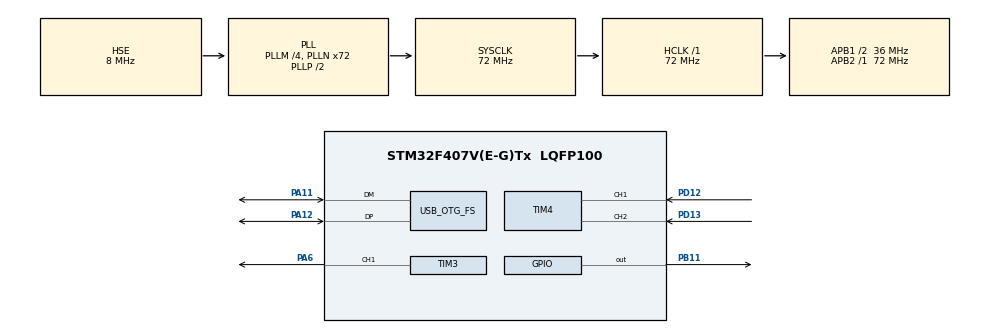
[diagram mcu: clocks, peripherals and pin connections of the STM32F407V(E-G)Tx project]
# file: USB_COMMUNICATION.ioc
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Mcu.Family=STM32F4
Mcu.Name=STM32F407V(E-G)Tx
Mcu.Package=LQFP100
NVIC.OTG_FS_IRQn=true\:0\:0\:false\:false\:true\:false\:true\:true
NVIC.PriorityGroup=NVIC_PRIORITYGROUP_4
NVIC.TIM2_IRQn=true\:0\:0\:false\:false\:true\:true\:true\:true
PA11.Mode=Device_Only
PA11.Signal=USB_OTG_FS_DM
PA12.Mode=Device_Only
PA12.Signal=USB_OTG_FS_DP
PA13.Mode=Serial_Wire
PA13.Signal=SYS_JTMS-SWDIO
PA14.Mode=Serial_Wire
PA14.Signal=SYS_JTCK-SWCLK
PA6.Signal=S_TIM3_CH1
PB11.Signal=GPIO_Output
PD12.Signal=S_TIM4_CH1
PD13.Signal=S_TIM4_CH2
PH0-OSC_IN.Mode=HSE-External-Oscillator
PH0-OSC_IN.Signal=RCC_OSC_IN
PH1-OSC_OUT.Mode=HSE-External-Oscillator
PH1-OSC_OUT.Signal=RCC_OSC_OUT
ProjectManager.HeapSize=0X800
ProjectManager.StackSize=0x400
ProjectManager.TargetToolchain=MDK-ARM V5.32
RCC.48MHZClocksFreq_Value=48000000
RCC.AHBFreq_Value=72000000
RCC.APB1CLKDivider=RCC_HCLK_DIV2
RCC.APB1Freq_Value=36000000
RCC.APB1TimFreq_Value=72000000
RCC.APB2Freq_Value=72000000
RCC.APB2TimFreq_Value=72000000
RCC.CortexFreq_Value=72000000
RCC.HCLKFreq_Value=72000000
RCC.HSE_VALUE=8000000
RCC.HSI_VALUE=16000000
RCC.LSE_VALUE=32768
RCC.PLLM=4
RCC.PLLN=72
RCC.PLLQ=3
RCC.SYSCLKFreq_VALUE=72000000
RCC.SYSCLKSource=RCC_SYSCLKSOURCE_PLLCLK
RCC.VCOOutputFreq_Value=144000000
SH.S_TIM3_CH1.0=TIM3_CH1,PWM Generation1 CH1
SH.S_TIM4_CH1.0=TIM4_CH1,Encoder_Interface
SH.S_TIM4_CH2.0=TIM4_CH2,Encoder_Interface
TIM2.Period=3599
TIM2.Prescaler=99
TIM3.Channel-PWM\ Generation1\ CH1=TIM_CHANNEL_1
TIM3.CounterMode=TIM_COUNTERMODE_CENTERALIGNED3
TIM3.Period=7199
TIM3.Prescaler=9
TIM4.EncoderMode=TIM_ENCODERMODE_TI12
USB_DEVICE.APP_RX_DATA_SIZE-CDC_FS=18
USB_DEVICE.APP_TX_DATA_SIZE-CDC_FS=18
USB_DEVICE.CLASS_NAME_FS=CDC
USB_DEVICE.VirtualMode-CDC_FS=Cdc
USB_DEVICE.VirtualModeFS=Cdc_FS
USB_OTG_FS.VirtualMode=Device_Only
VP_TIM2_VS_ClockSourceINT.Mode=Internal
VP_USB_DEVICE_VS_USB_DEVICE_CDC_FS.Mode=CDC_FS
board=custom

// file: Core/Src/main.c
/* USER CODE BEGIN Header */
/**
  ******************************************************************************
  * @file           : main.c
  * @brief          : Main program body
  ******************************************************************************
  * @attention
  *
  * Copyright (c) 2022 STMicroelectronics.
  * All rights reserved.
  *
  * This software is licensed under terms that can be found in the LICENSE file
  * in the root directory of this software component.
  * If no LICENSE file comes with this software, it is provided AS-IS.
  *
  ******************************************************************************
  */
/* USER CODE END Header */
#include "main.h"
#include "tim.h"
#include "usb_device.h"
#include "gpio.h"

/* USER CODE BEGIN Includes */
#include <stdbool.h>
#include <stdint.h>
#include <string.h>
#include <math.h>
#include <stdio.h>
#include <stdlib.h>

#include <pid.h>
#include <motor.h>
#include <serial.h>
/* USER CODE END Includes */

void SystemClock_Config(void);

/* USER CODE BEGIN 0 */
extern PID_CONTROL_t tPIDControl;
extern PROFILE_t  tProfile;
extern PROCESS_t tProcess;

extern bool g_bDataAvailable;
extern uint8_t nTxBuff[MAX_LEN];
extern uint8_t g_strCommand[4];
extern uint8_t g_nOption[3];
extern uint8_t g_nData[8];

extern uint32_t g_nActPulse;
extern uint32_t g_nCmdPulse;
extern uint16_t g_nIndex;
extern float g_dPIDError;

uint8_t g_strTxCommand[4];
uint8_t g_nTxOption[3];
uint8_t g_nTxData[8];
uint16_t g_nTuningSampleCount =0;
/* USER CODE END 0 */

int main(void)
{

  /* MCU Configuration--------------------------------------------------------*/

  /* Reset of all peripherals, Initializes the Flash interface and the Systick. */
  HAL_Init();

  /* Configure the system clock */
  SystemClock_Config();

  /* Initialize all configured peripherals */
  MX_GPIO_Init();
  MX_TIM2_Init();
  MX_TIM3_Init();
  MX_TIM4_Init();
  MX_USB_DEVICE_Init();
  /* USER CODE BEGIN 2 */
  MotorInit();
  tProcess = NONE;

  /* USER CODE END 2 */

  /* Infinite loop */
  while (1)
  {

    /* USER CODE BEGIN 3 */
	  if(g_bDataAvailable == true)
	  	  	      {
	  	  	        if(StrCompare(g_strCommand, (uint8_t*)"SPID", 4))
	  	  	        {
	  	  	          tProcess = SPID;
	  	  	        }
	  	  	        else if(StrCompare(g_strCommand, (uint8_t*)"CTUN", 4))
	  	  	        {
	  	  	          tProcess = CTUN_RES;
	  	  	        }
	  	  	        else if(StrCompare(g_strCommand, (uint8_t*)"GPID", 4))
	  	  	        {
	  	  	          tProcess = GPID;
	  	  	        }
	  	  	        else if(StrCompare(g_strCommand, (uint8_t*)"CSET", 4))
	  	  	        {
	  	  	          tProcess = CSET;
	  	  	        }
	  	  	        else if(StrCompare(g_strCommand, (uint8_t*)"CRUN", 4))
	  	  	        {
	  	  	          tProcess = CRUN_RES;
	  	  	        }
	  	  	        else if(StrCompare(g_strCommand, (uint8_t*)"GRMS", 4))
	  	  	        {
	  	  	          tProcess = GRMS;
	  	  	        }
	  	  	        else
	  	  	        {
	  	  	          tProcess = NONE;
	  	  	        }
	  	  	        g_bDataAvailable = false;
	  	  	      }

	  	  	      switch(tProcess)
	  	  	      {
	  	  	        case NONE:
	  	  	          break;
	  	  	        case SPID:
	  	  	          SerialWriteComm(g_strCommand, g_nOption, g_nData);
	  	  	          g_nCmdPulse = 0;
	  	  	          PIDReset(&tPIDControl);
	  	  	          __HAL_TIM_SetCounter(&htim4, 32768);
	  	  	          g_nIndex = 0;

	  	  	          //get PID params
	  	  	          tPIDControl.dKp = (float)g_nData[0] + (float)g_nData[1]/10;
	  	  	          tPIDControl.dKi = (float)g_nData[2] + (float)g_nData[3]/100;
	  	  	          tPIDControl.dKd = ((float)g_nData[4] + (float)g_nData[5]/(pow((float)10,(float)g_nData[6])))/100;
					  memset(tPIDControl.nActPosSample, 0, sizeof(tPIDControl.nActPosSample));
	  	  	          tProcess = NONE;
	  	  	          break;
	  	  	        case CTUN_RES:
	  	  	          SerialWriteComm(g_strCommand, g_nOption, g_nData);
	  	  	          tProcess = CTUN;
	  	  	          break;
	  	  	        case CTUN:
	  	  	          break;
	  	  	        case GPID:
	  	  	          for(int index = 0; index < (g_nIndex -1); index ++)
	  	  	          {
	  	  	            sprintf((char*)g_strTxCommand, "%s", g_strCommand);
	  	  	            memset(g_nTxOption, '\0', 3);
	  	  	            g_nTxData[6] = (tPIDControl.nSampleTuningPID[index]&0xFF00) >>8;
	  	  	            g_nTxData[7] = (tPIDControl.nSampleTuningPID[index]&0xFF);
	  	  	            g_nTxData[2] = (index&0xFF00) >>8;
	  	  	            g_nTxData[3] = (index&0xFF);
	  	  	            g_nTxData[0] = 0;
	  	  	            g_nTxData[1] = 199;

	  	  	            SerialWriteComm(g_strTxCommand, g_nTxOption, g_nTxData);
	  	  	            memset(g_strTxCommand, '\0', 4);
	  	  	            memset(g_nTxOption, '\0', 3);
	  	  	            memset(g_nTxData, '\0', 8);

	  	  	            HAL_Delay(30);
	  	  	          }
	  	  	          g_bDataAvailable = false;
	  	  	          memset(g_strCommand, '\0', 4);
	  	  	          tProcess = NONE;
	  	  	          break;
	  	  	        case CSET:
	  	  	          SerialWriteComm(g_strCommand, g_nOption, g_nData);

	  	  	          PIDReset(&tPIDControl);
	  	  	          g_nActPulse = 0;
	  	  	          g_nCmdPulse = 0 ;

	  	  	          //Get Pmax, Vmax, Amax
	  	  	          tProfile.dAccelMax = (float)(g_nData[2])*256 + (float)(g_nData[3]);
	  	  	          tProfile.dVelMax = (float)(g_nData[4])*256 + (float)(g_nData[5]);
	  	  	          tProfile.dPosMax = (float)(g_nData[6])*256 + (float)(g_nData[7]);
	  	  	          //Calculate params for trapezoidal speed
	  	  	          tProfile.dA1 = 0.5f * tProfile.dAccelMax;
	  	  	          tProfile.dA2 = tProfile.dVelMax;
	  	  	          tProfile.dB2 = -0.5f * tProfile.dVelMax * tProfile.dVelMax / tProfile.dAccelMax;
	  	  	          tProfile.dA3 = -0.5f * tProfile.dAccelMax;
	  	  	          tProfile.dB3 = tProfile.dPosMax * tProfile.dAccelMax / tProfile.dVelMax + tProfile.dVelMax;
	  	  	          tProfile.dC3 = -0.5f * tProfile.dPosMax*tProfile.dPosMax*tProfile.dAccelMax/ (tProfile.dVelMax * tProfile.dVelMax) - 0.5f *tProfile.dVelMax * tProfile.dVelMax/tProfile.dAccelMax;

	  	  	          tProfile.dMidStep1 = tProfile.dVelMax / tProfile.dAccelMax;
	  	  	          tProfile.dMidStep2 = tProfile.dPosMax / tProfile.dVelMax;
	  	  	          tProfile.dMidStep3 = tProfile.dMidStep1 + tProfile.dMidStep2;

	  	  	          tProfile.nTime = 0;
	  	  	          tProcess = NONE;
	  	  	          //memset(g_strCommand, '\0', 4);
	  	  	          break;

	  	  	        case CRUN_RES:
	  	  	          SerialWriteComm(g_strCommand, g_nOption, g_nData);
	  	  	          g_nCmdPulse = 0;
	  	  	          PIDReset(&tPIDControl);
	  	  	          __HAL_TIM_SetCounter(&htim4, 32768);
	  	  	          g_nIndex = 0 ;
	  	  	          tProcess = CRUN;
	  	  	          //memset(g_strCommand, '\0', 4);
	  	  	          break;
	  	  	        case CRUN:
	  	  	          g_bDataAvailable = false;
	  	  	          //memset(g_strCommand, '\0', 4);
	  	  	          break;
	  	  	        case GRMS:
	  	  	          for(int index = 0 ; index < (g_nIndex - 1); index ++)
	  	  	          {
	  	  	            sprintf((char*)g_strTxCommand, "%s", g_strCommand);
	  	  	            memset(g_nTxOption, '\0', 3);
	  	  	            g_nTxData[6] = (tPIDControl.nActPosSample[index]&0xFF00) >>8;
	  	  	            g_nTxData[7] = (tPIDControl.nActPosSample[index]&0xFF);
	  	  	            g_nTxData[4] = ((uint16_t)g_dPIDError&0xFF00)>>8;
	  	  	            g_nTxData[5] = ((uint16_t)g_dPIDError&0xFF);
	  	  	            g_nTxData[2] = (index&0xFF00) >>8;
	  	  	            g_nTxData[3] = (index&0xFF);
	  	  	            g_nTxData[0] = ((g_nIndex -2)&0xFF00)>>8;
	  	  	            g_nTxData[1] = ((g_nIndex -2)&0xFF);

	  	  	            SerialWriteComm(g_strTxCommand, g_nTxOption, g_nTxData);
	  	  	            memset(g_strTxCommand, '\0', 4);
	  	  	            memset(g_nTxOption, '\0', 3);
	  	  	            memset(g_nTxData, '\0', 8);

	  	  	            HAL_Delay(30);
	  	  	          }
	  	  	          g_bDataAvailable = false;
	  	  	          tProcess = NONE;
	  	  	          break;
	  	  	      }

  }
  /* USER CODE END 3 */
}

void SystemClock_Config(void)
{
  RCC_OscInitTypeDef RCC_OscInitStruct = {0};
  RCC_ClkInitTypeDef RCC_ClkInitStruct = {0};

  /** Configure the main internal regulator output voltage
  */
  __HAL_RCC_PWR_CLK_ENABLE();
  __HAL_PWR_VOLTAGESCALING_CONFIG(PWR_REGULATOR_VOLTAGE_SCALE1);

  /** Initializes the RCC Oscillators according to the specified parameters
  * in the RCC_OscInitTypeDef structure.
  */
  RCC_OscInitStruct.OscillatorType = RCC_OSCILLATORTYPE_HSE;
  RCC_OscInitStruct.HSEState = RCC_HSE_ON;
  RCC_OscInitStruct.PLL.PLLState = RCC_PLL_ON;
  RCC_OscInitStruct.PLL.PLLSource = RCC_PLLSOURCE_HSE;
  RCC_OscInitStruct.PLL.PLLM = 4;
  RCC_OscInitStruct.PLL.PLLN = 72;
  RCC_OscInitStruct.PLL.PLLP = RCC_PLLP_DIV2;
  RCC_OscInitStruct.PLL.PLLQ = 3;
  if (HAL_RCC_OscConfig(&RCC_OscInitStruct) != HAL_OK)
  {
    Error_Handler();
  }

  /** Initializes the CPU, AHB and APB buses clocks
  */
  RCC_ClkInitStruct.ClockType = RCC_CLOCKTYPE_HCLK|RCC_CLOCKTYPE_SYSCLK
                              |RCC_CLOCKTYPE_PCLK1|RCC_CLOCKTYPE_PCLK2;
  RCC_ClkInitStruct.SYSCLKSource = RCC_SYSCLKSOURCE_PLLCLK;
  RCC_ClkInitStruct.AHBCLKDivider = RCC_SYSCLK_DIV1;
  RCC_ClkInitStruct.APB1CLKDivider = RCC_HCLK_DIV2;
  RCC_ClkInitStruct.APB2CLKDivider = RCC_HCLK_DIV1;

  if (HAL_RCC_ClockConfig(&RCC_ClkInitStruct, FLASH_LATENCY_2) != HAL_OK)
  {
    Error_Handler();
  }
}

/* USER CODE BEGIN 4 */
void HAL_TIM_PeriodElapsedCallback(TIM_HandleTypeDef *htim)
{
  if(htim->Instance == htim2.Instance)
  {
    switch(tProcess)
    {
      case NONE:
        break;
      case SPID:
        break;
      case CTUN_RES:
        break;
      case CTUN:
        if(g_nIndex <= 200)
        {
          MotorTuning(25);
        }
        else
        {
          tProcess = NONE;
        }
        break;
      case GPID:
        break;
      case CSET:
        break;
	  case CRUN_RES:
		break;
      case CRUN:
        MotorMovePos();
        break;
      case GRMS:
		break;
    }
  }
}
/* USER CODE END 4 */

void Error_Handler(void)
{
  __disable_irq();
  while (1)
  {
  }
}
